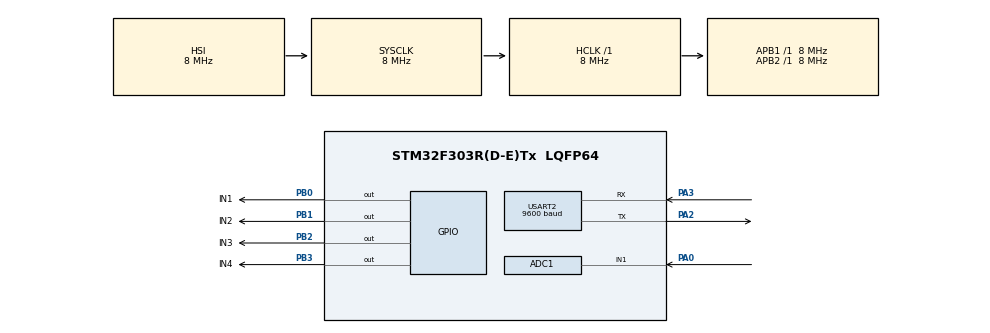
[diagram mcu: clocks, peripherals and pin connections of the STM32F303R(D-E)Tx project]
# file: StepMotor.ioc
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ADC1.Channel-1\#ChannelRegularConversion=ADC_CHANNEL_1
ADC1.NbrOfConversionFlag=1
ADC1.Offset-1\#ChannelRegularConversion=0
ADC1.OffsetNumber-1\#ChannelRegularConversion=ADC_OFFSET_NONE
ADC1.Rank-1\#ChannelRegularConversion=1
ADC1.Resolution=ADC_RESOLUTION_12B
ADC1.SamplingTime-1\#ChannelRegularConversion=ADC_SAMPLETIME_1CYCLE_5
ADC1.master=1
Mcu.Family=STM32F3
Mcu.Name=STM32F303R(D-E)Tx
Mcu.Package=LQFP64
NVIC.PriorityGroup=NVIC_PRIORITYGROUP_4
PA0.Mode=IN1-Single-Ended
PA0.Signal=ADC1_IN1
PA2.Mode=Asynchronous
PA2.Signal=USART2_TX
PA3.Mode=Asynchronous
PA3.Signal=USART2_RX
PB0.GPIO_Label=IN1
PB0.Signal=GPIO_Output
PB1.GPIO_Label=IN2
PB1.Signal=GPIO_Output
PB2.GPIO_Label=IN3
PB2.Signal=GPIO_Output
PB3.GPIO_Label=IN4
PB3.Signal=GPIO_Output
ProjectManager.HeapSize=0x200
ProjectManager.StackSize=0x400
ProjectManager.TargetToolchain=STM32CubeIDE
RCC.AHBFreq_Value=8000000
RCC.APB1Freq_Value=8000000
RCC.APB2Freq_Value=8000000
RCC.CortexFreq_Value=8000000
RCC.HSE_VALUE=8000000
RCC.HSI_VALUE=8000000
RCC.LSE_VALUE=32768
RCC.SYSCLKFreq_VALUE=8000000
RCC.USBFreq_Value=16000000
USART2.BaudRate=9600
USART2.VirtualMode-Asynchronous=VM_ASYNC
board=custom

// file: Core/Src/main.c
/* USER CODE BEGIN Header */
/**
  ******************************************************************************
  * @file           : main.c
  * @brief          : Main program body
  ******************************************************************************
  * @attention
  *
  * Copyright (c) 2022 STMicroelectronics.
  * All rights reserved.
  *
  * This software is licensed under terms that can be found in the LICENSE file
  * in the root directory of this software component.
  * If no LICENSE file comes with this software, it is provided AS-IS.
  *
  ******************************************************************************
  */
/* USER CODE END Header */
#include "main.h"

/* USER CODE BEGIN Includes */
#include <string.h>
#include <stdio.h>
/* USER CODE END Includes */

 ADC_HandleTypeDef hadc1;

UART_HandleTypeDef huart2;

/* USER CODE BEGIN PV */
char msg[12]; 					//raw data
char msgP[12]; 					//step motor "steps"
char msgAn[20]; 				//motor angle relative to starting point

int pasos=0; 					//step motor "steps"
int raw; 						//Raw Data
int step=0; 					//Sequence steps

float angulo; 					//Current motor angle/position
float anguloPaso = 0.17578125;  //Number of degrees for each step
/* USER CODE END PV */

void SystemClock_Config(void);
static void MX_GPIO_Init(void);
static void MX_ADC1_Init(void);
static void MX_USART2_UART_Init(void);

int main(void)
{

  /* MCU Configuration--------------------------------------------------------*/

  /* Reset of all peripherals, Initializes the Flash interface and the Systick. */
  HAL_Init();

  /* Configure the system clock */
  SystemClock_Config();

  /* Initialize all configured peripherals */
  MX_GPIO_Init();
  MX_ADC1_Init();
  MX_USART2_UART_Init();

  /* Infinite loop */
  /* USER CODE BEGIN WHILE */
  while (1)
  {
	  //Clockwise
	  HAL_ADC_Start(&hadc1);
	  HAL_ADC_PollForConversion(&hadc1, HAL_MAX_DELAY);
	  raw = HAL_ADC_GetValue(&hadc1);

	  sprintf(msg, "%hu\r\n", raw);
	  HAL_UART_Transmit(&huart2, (uint8_t*)msg, strlen(msg), HAL_MAX_DELAY);

	  if(raw/2 >= pasos && raw != 0){
		  for (step=3; step>=0; step--){
			 switch (step){
				 case 0:
					 HAL_GPIO_WritePin(GPIOB, IN1_Pin, GPIO_PIN_SET);	 // IN1
					 HAL_GPIO_WritePin(GPIOB, IN2_Pin, GPIO_PIN_RESET);  // IN2
					 HAL_GPIO_WritePin(GPIOB, IN3_Pin, GPIO_PIN_RESET);  // IN3
					 HAL_GPIO_WritePin(GPIOB, IN4_Pin, GPIO_PIN_RESET);  // IN4
				 break;
				 case 1:
					 HAL_GPIO_WritePin(GPIOB, IN1_Pin, GPIO_PIN_RESET);  // IN1
					 HAL_GPIO_WritePin(GPIOB, IN2_Pin, GPIO_PIN_SET); 	 // IN2
					 HAL_GPIO_WritePin(GPIOB, IN3_Pin, GPIO_PIN_RESET);  // IN3
					 HAL_GPIO_WritePin(GPIOB, IN4_Pin, GPIO_PIN_RESET);  // IN4
				 break;
				 case 2:
					 HAL_GPIO_WritePin(GPIOB, IN1_Pin, GPIO_PIN_RESET);  // IN1
					 HAL_GPIO_WritePin(GPIOB, IN2_Pin, GPIO_PIN_RESET);  // IN2
					 HAL_GPIO_WritePin(GPIOB, IN3_Pin, GPIO_PIN_SET); 	 // IN3
					 HAL_GPIO_WritePin(GPIOB, IN4_Pin, GPIO_PIN_RESET);  // IN4
				 break;
				 case 3:
					 HAL_GPIO_WritePin(GPIOB, IN1_Pin, GPIO_PIN_RESET);  // IN1
					 HAL_GPIO_WritePin(GPIOB, IN2_Pin, GPIO_PIN_RESET);  // IN2
					 HAL_GPIO_WritePin(GPIOB, IN3_Pin, GPIO_PIN_RESET);  // IN3
					 HAL_GPIO_WritePin(GPIOB, IN4_Pin, GPIO_PIN_SET); 	 // IN4
				 break;
		     }
			 HAL_Delay(1);
			 pasos++;
			 angulo = pasos*anguloPaso;

			 sprintf(msgP, "%hu\r\n", pasos);
			 HAL_UART_Transmit(&huart2, (uint8_t*)msgP, strlen(msgP), HAL_MAX_DELAY);

			 sprintf(msgAn, "%f\r\n", angulo);
			 HAL_UART_Transmit(&huart2, (uint8_t*)msgAn, strlen(msgAn), HAL_MAX_DELAY);

		  }
	  }
	 //--------------------------------------------------------------------
	 //Anti-Clockwise
	  if(raw/2 <= pasos){
		 for (step=0; step<=3; step++){
			 switch (step){
				 case 0:
					 HAL_GPIO_WritePin(GPIOB, IN1_Pin, GPIO_PIN_SET); 	// IN1
					 HAL_GPIO_WritePin(GPIOB, IN2_Pin, GPIO_PIN_RESET); // IN2
					 HAL_GPIO_WritePin(GPIOB, IN3_Pin, GPIO_PIN_RESET); // IN3
					 HAL_GPIO_WritePin(GPIOB, IN4_Pin, GPIO_PIN_RESET); // IN4
				 break;
				 case 1:
					 HAL_GPIO_WritePin(GPIOB, IN1_Pin, GPIO_PIN_RESET); // IN1
					 HAL_GPIO_WritePin(GPIOB, IN2_Pin, GPIO_PIN_SET); 	// IN2
					 HAL_GPIO_WritePin(GPIOB, IN3_Pin, GPIO_PIN_RESET); // IN3
					 HAL_GPIO_WritePin(GPIOB, IN4_Pin, GPIO_PIN_RESET); // IN4
				 break;
				 case 2:
					 HAL_GPIO_WritePin(GPIOB, IN1_Pin, GPIO_PIN_RESET); // IN1
					 HAL_GPIO_WritePin(GPIOB, IN2_Pin, GPIO_PIN_RESET); // IN2
					 HAL_GPIO_WritePin(GPIOB, IN3_Pin, GPIO_PIN_SET); 	// IN3
					 HAL_GPIO_WritePin(GPIOB, IN4_Pin, GPIO_PIN_RESET); // IN4
				 break;
				 case 3:
					 HAL_GPIO_WritePin(GPIOB, IN1_Pin, GPIO_PIN_RESET); // IN1
					 HAL_GPIO_WritePin(GPIOB, IN2_Pin, GPIO_PIN_RESET); // IN2
					 HAL_GPIO_WritePin(GPIOB, IN3_Pin, GPIO_PIN_RESET); // IN3
					 HAL_GPIO_WritePin(GPIOB, IN4_Pin, GPIO_PIN_SET); 	// IN4
				 break;
			 }
			 HAL_Delay(1);
			 pasos--;
			 angulo = pasos*anguloPaso;

			 sprintf(msgP, "%hu\r\n", pasos);
			 HAL_UART_Transmit(&huart2, (uint8_t*)msgP, strlen(msgP), HAL_MAX_DELAY);

			 sprintf(msgAn, "%f\r\n", angulo);
			 HAL_UART_Transmit(&huart2, (uint8_t*)msgAn, strlen(msgAn), HAL_MAX_DELAY);
		 }
	  }

    /* USER CODE END WHILE */

  }
}

void SystemClock_Config(void)
{
  RCC_OscInitTypeDef RCC_OscInitStruct = {0};
  RCC_ClkInitTypeDef RCC_ClkInitStruct = {0};
  RCC_PeriphCLKInitTypeDef PeriphClkInit = {0};

  /** Initializes the RCC Oscillators according to the specified parameters
  * in the RCC_OscInitTypeDef structure.
  */
  RCC_OscInitStruct.OscillatorType = RCC_OSCILLATORTYPE_HSI;
  RCC_OscInitStruct.HSIState = RCC_HSI_ON;
  RCC_OscInitStruct.HSICalibrationValue = RCC_HSICALIBRATION_DEFAULT;
  RCC_OscInitStruct.PLL.PLLState = RCC_PLL_ON;
  RCC_OscInitStruct.PLL.PLLSource = RCC_PLLSOURCE_HSI;
  RCC_OscInitStruct.PLL.PLLMUL = RCC_PLL_MUL2;
  RCC_OscInitStruct.PLL.PREDIV = RCC_PREDIV_DIV1;
  if (HAL_RCC_OscConfig(&RCC_OscInitStruct) != HAL_OK)
  {
    Error_Handler();
  }

  /** Initializes the CPU, AHB and APB buses clocks
  */
  RCC_ClkInitStruct.ClockType = RCC_CLOCKTYPE_HCLK|RCC_CLOCKTYPE_SYSCLK
                              |RCC_CLOCKTYPE_PCLK1|RCC_CLOCKTYPE_PCLK2;
  RCC_ClkInitStruct.SYSCLKSource = RCC_SYSCLKSOURCE_HSI;
  RCC_ClkInitStruct.AHBCLKDivider = RCC_SYSCLK_DIV1;
  RCC_ClkInitStruct.APB1CLKDivider = RCC_HCLK_DIV1;
  RCC_ClkInitStruct.APB2CLKDivider = RCC_HCLK_DIV1;

  if (HAL_RCC_ClockConfig(&RCC_ClkInitStruct, FLASH_LATENCY_0) != HAL_OK)
  {
    Error_Handler();
  }
  PeriphClkInit.PeriphClockSelection = RCC_PERIPHCLK_USART2|RCC_PERIPHCLK_ADC12;
  PeriphClkInit.Usart2ClockSelection = RCC_USART2CLKSOURCE_PCLK1;
  PeriphClkInit.Adc12ClockSelection = RCC_ADC12PLLCLK_DIV1;
  if (HAL_RCCEx_PeriphCLKConfig(&PeriphClkInit) != HAL_OK)
  {
    Error_Handler();
  }
}

static void MX_ADC1_Init(void)
{

  ADC_MultiModeTypeDef multimode = {0};
  ADC_ChannelConfTypeDef sConfig = {0};

  /** Common config
  */
  hadc1.Instance = ADC1;
  hadc1.Init.ClockPrescaler = ADC_CLOCK_ASYNC_DIV1;
  hadc1.Init.Resolution = ADC_RESOLUTION_12B;
  hadc1.Init.ScanConvMode = ADC_SCAN_DISABLE;
  hadc1.Init.ContinuousConvMode = DISABLE;
  hadc1.Init.DiscontinuousConvMode = DISABLE;
  hadc1.Init.ExternalTrigConvEdge = ADC_EXTERNALTRIGCONVEDGE_NONE;
  hadc1.Init.ExternalTrigConv = ADC_SOFTWARE_START;
  hadc1.Init.DataAlign = ADC_DATAALIGN_RIGHT;
  hadc1.Init.NbrOfConversion = 1;
  hadc1.Init.DMAContinuousRequests = DISABLE;
  hadc1.Init.EOCSelection = ADC_EOC_SINGLE_CONV;
  hadc1.Init.LowPowerAutoWait = DISABLE;
  hadc1.Init.Overrun = ADC_OVR_DATA_OVERWRITTEN;
  if (HAL_ADC_Init(&hadc1) != HAL_OK)
  {
    Error_Handler();
  }

  /** Configure the ADC multi-mode
  */
  multimode.Mode = ADC_MODE_INDEPENDENT;
  if (HAL_ADCEx_MultiModeConfigChannel(&hadc1, &multimode) != HAL_OK)
  {
    Error_Handler();
  }

  /** Configure Regular Channel
  */
  sConfig.Channel = ADC_CHANNEL_1;
  sConfig.Rank = ADC_REGULAR_RANK_1;
  sConfig.SingleDiff = ADC_SINGLE_ENDED;
  sConfig.SamplingTime = ADC_SAMPLETIME_1CYCLE_5;
  sConfig.OffsetNumber = ADC_OFFSET_NONE;
  sConfig.Offset = 0;
  if (HAL_ADC_ConfigChannel(&hadc1, &sConfig) != HAL_OK)
  {
    Error_Handler();
  }

}

static void MX_USART2_UART_Init(void)
{

  huart2.Instance = USART2;
  huart2.Init.BaudRate = 9600;
  huart2.Init.WordLength = UART_WORDLENGTH_8B;
  huart2.Init.StopBits = UART_STOPBITS_1;
  huart2.Init.Parity = UART_PARITY_NONE;
  huart2.Init.Mode = UART_MODE_TX_RX;
  huart2.Init.HwFlowCtl = UART_HWCONTROL_NONE;
  huart2.Init.OverSampling = UART_OVERSAMPLING_16;
  huart2.Init.OneBitSampling = UART_ONE_BIT_SAMPLE_DISABLE;
  huart2.AdvancedInit.AdvFeatureInit = UART_ADVFEATURE_NO_INIT;
  if (HAL_UART_Init(&huart2) != HAL_OK)
  {
    Error_Handler();
  }

}

static void MX_GPIO_Init(void)
{
  GPIO_InitTypeDef GPIO_InitStruct = {0};

  /* GPIO Ports Clock Enable */
  __HAL_RCC_GPIOA_CLK_ENABLE();
  __HAL_RCC_GPIOB_CLK_ENABLE();

  /*Configure GPIO pin Output Level */
  HAL_GPIO_WritePin(GPIOB, IN1_Pin|IN2_Pin|IN3_Pin|IN4_Pin, GPIO_PIN_RESET);

  /*Configure GPIO pins : IN1_Pin IN2_Pin IN3_Pin IN4_Pin */
  GPIO_InitStruct.Pin = IN1_Pin|IN2_Pin|IN3_Pin|IN4_Pin;
  GPIO_InitStruct.Mode = GPIO_MODE_OUTPUT_PP;
  GPIO_InitStruct.Pull = GPIO_NOPULL;
  GPIO_InitStruct.Speed = GPIO_SPEED_FREQ_LOW;
  HAL_GPIO_Init(GPIOB, &GPIO_InitStruct);

}

void Error_Handler(void)
{
  __disable_irq();
  while (1)
  {
  }
}
